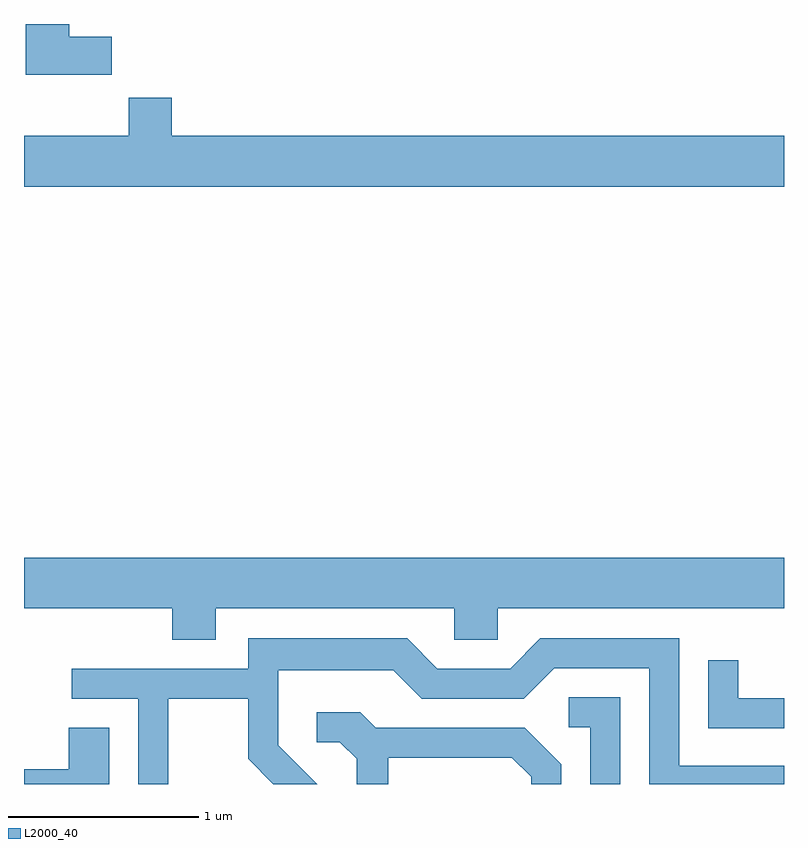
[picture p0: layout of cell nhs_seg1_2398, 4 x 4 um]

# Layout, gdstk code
import gdstk
lib = gdstk.Library(unit=1e-6, precision=1e-09)
def P(c, l, *ps):  # polygons
    for p in ps: c.add(gdstk.Polygon(p, *l))
L2000_40 = (2000, 40)

nhs_seg1_2398 = lib.new_cell('nhs_seg1_2398')
P(nhs_seg1_2398, L2000_40, [(258.074,953.644),(257.849,953.644),(257.849,953.712),(257.621,953.712),(257.621,953.446),(258.074,953.446)],
  [(261.611,953.124),(258.389,953.124),(258.389,953.324),(258.161,953.324),(258.161,953.124),(257.611,953.124),(257.611,952.856),(261.611,952.856)],
  [(258.619,950.636),(259.876,950.636),(259.876,950.471),(260.104,950.471),(260.104,950.636),(261.611,950.636),(261.611,950.904),(257.611,950.904),(257.611,950.636),(258.391,950.636),(258.391,950.471),(258.619,950.471)],
  [(258.369,950.161),(258.791,950.161),(258.791,949.844),(258.923,949.712),(259.154,949.712),(258.949,949.917),(258.949,950.311),(259.554,950.311),(259.704,950.161),(260.242,950.161),(260.402,950.321),(260.901,950.321),(260.901,949.712),(261.611,949.712),(261.611,949.809),(261.059,949.809),(261.059,950.479),(260.329,950.479),(260.169,950.319),(259.787,950.319),(259.627,950.479),(258.791,950.479),(258.791,950.319),(257.863,950.319),(257.863,950.161),(258.211,950.161),(258.211,949.712),(258.369,949.712)],
  [(261.611,950.164),(261.369,950.164),(261.369,950.363),(261.211,950.363),(261.211,950.006),(261.611,950.006)],
  [(260.749,950.169),(260.478,950.169),(260.478,950.011),(260.591,950.011),(260.591,949.712),(260.749,949.712)],
  [(259.529,949.851),(260.179,949.851),(260.281,949.749),(260.281,949.712),(260.439,949.712),(260.439,949.817),(260.247,950.009),(259.462,950.009),(259.382,950.089),(259.153,950.089),(259.153,949.931),(259.274,949.931),(259.361,949.844),(259.361,949.712),(259.529,949.712)],
  [(258.059,950.009),(257.846,950.009),(257.846,949.789),(257.611,949.789),(257.611,949.712),(258.059,949.712)])

lib.write_gds('nhs_seg1_2398.gds')
